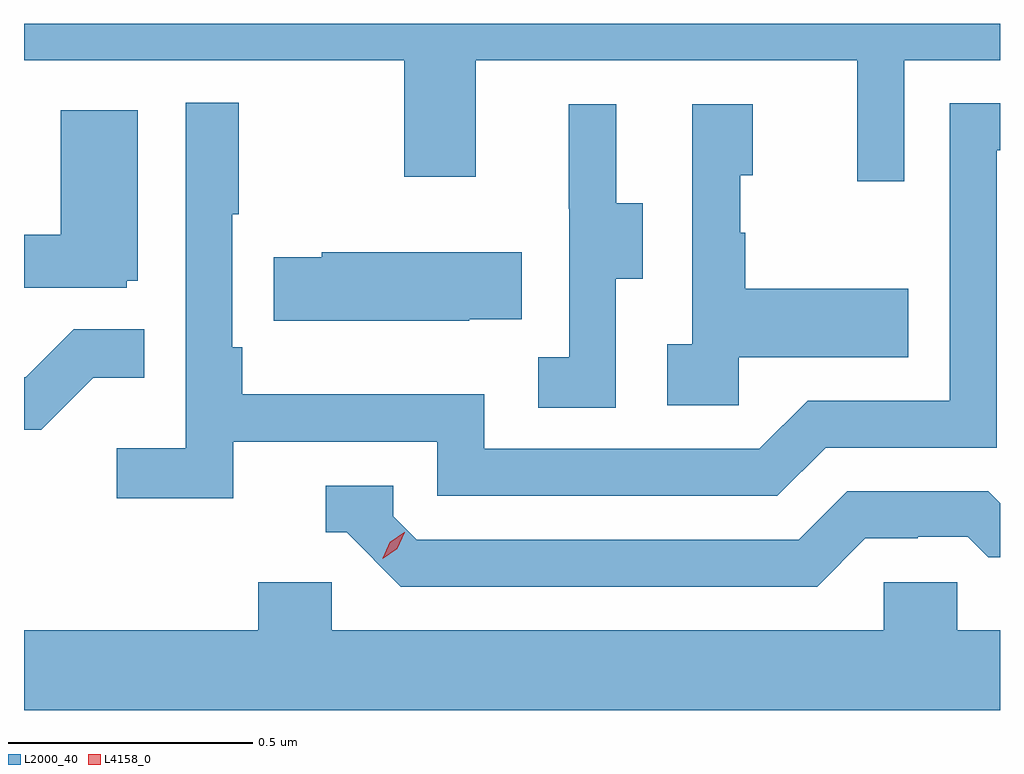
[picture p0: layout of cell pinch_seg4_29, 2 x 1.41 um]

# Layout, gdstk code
import gdstk
lib = gdstk.Library(unit=1e-6, precision=1e-09)
def P(c, l, *ps):  # polygons
    for p in ps: c.add(gdstk.Polygon(p, *l))
L2000_40 = (2000, 40)
L4158_0 = (4158, 0)

pinch_seg4_29 = lib.new_cell('pinch_seg4_29')
P(pinch_seg4_29, L2000_40, [(1109.907,824.792),(1110.103,824.792),(1110.103,824.866),(1108.103,824.866),(1108.103,824.792),(1108.882,824.792),(1108.882,824.553),(1109.029,824.553),(1109.029,824.792),(1109.81,824.792),(1109.81,824.544),(1109.907,824.544)],
  [(1108.532,824.01),(1108.95,824.01),(1108.95,823.899),(1109.647,823.899),(1109.746,823.998),(1110.096,823.998),(1110.096,824.607),(1110.103,824.607),(1110.103,824.703),(1110,824.703),(1110,824.094),(1109.709,824.094),(1109.61,823.995),(1109.046,823.995),(1109.046,824.107),(1108.55,824.107),(1108.55,824.203),(1108.53,824.203),(1108.53,824.476),(1108.543,824.476),(1108.543,824.704),(1108.434,824.704),(1108.434,823.996),(1108.293,823.996),(1108.293,823.894),(1108.532,823.894)],
  [(1109.568,824.183),(1109.915,824.183),(1109.915,824.323),(1109.581,824.323),(1109.581,824.438),(1109.571,824.438),(1109.571,824.556),(1109.596,824.556),(1109.596,824.701),(1109.472,824.701),(1109.472,824.21),(1109.421,824.21),(1109.421,824.085),(1109.568,824.085)],
  [(1109.316,824.344),(1109.371,824.344),(1109.371,824.499),(1109.317,824.499),(1109.317,824.701),(1109.219,824.701),(1109.219,824.487),(1109.22,824.487),(1109.22,824.183),(1109.157,824.183),(1109.157,824.08),(1109.316,824.08)],
  [(1108.314,824.34),(1108.336,824.34),(1108.336,824.689),(1108.178,824.689),(1108.178,824.434),(1108.103,824.434),(1108.103,824.325),(1108.314,824.325)],
  [(1109.015,824.261),(1109.123,824.261),(1109.123,824.398),(1108.713,824.398),(1108.713,824.388),(1108.615,824.388),(1108.615,824.258),(1109.015,824.258)],
  [(1108.245,824.141),(1108.349,824.141),(1108.349,824.24),(1108.205,824.24),(1108.107,824.142),(1108.103,824.142),(1108.103,824.034),(1108.138,824.034)],
  [(1109.827,823.812),(1109.934,823.812),(1109.934,823.815),(1110.037,823.815),(1110.079,823.773),(1110.103,823.773),(1110.103,823.884),(1110.079,823.908),(1109.79,823.908),(1109.691,823.809),(1108.908,823.809),(1108.86,823.857),(1108.86,823.92),(1108.721,823.92),(1108.721,823.824),(1108.764,823.824),(1108.875,823.713),(1109.728,823.713)],
  [(1110.103,823.624),(1110.015,823.624),(1110.015,823.722),(1109.865,823.722),(1109.865,823.624),(1108.734,823.624),(1108.734,823.722),(1108.583,823.722),(1108.583,823.624),(1108.103,823.624),(1108.103,823.46),(1110.103,823.46)])
P(pinch_seg4_29, L4158_0, [(1108.838,823.77),(1108.838,823.771),(1108.852,823.804),(1108.882,823.824),(1108.883,823.824),(1108.883,823.824),(1108.868,823.791),(1108.838,823.77)])

lib.write_gds('pinch_seg4_29.gds')
